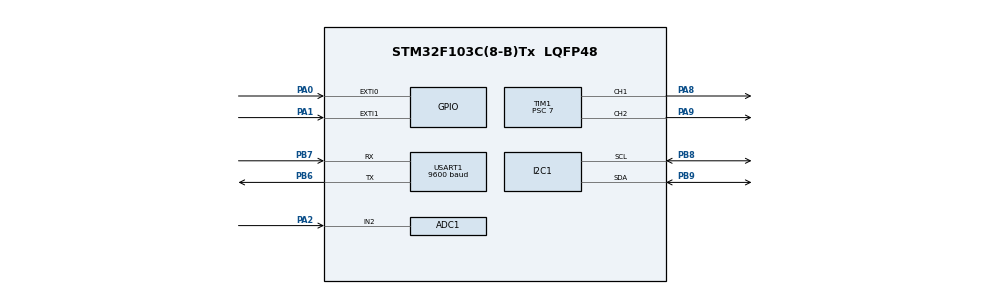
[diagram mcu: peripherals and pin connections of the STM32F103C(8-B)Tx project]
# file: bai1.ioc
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ADC1.Channel-2\#ChannelRegularConversion=ADC_CHANNEL_2
ADC1.NbrOfConversionFlag=1
ADC1.Rank-2\#ChannelRegularConversion=1
ADC1.SamplingTime-2\#ChannelRegularConversion=ADC_SAMPLETIME_1CYCLE_5
ADC1.master=1
Mcu.Family=STM32F1
Mcu.Name=STM32F103C(8-B)Tx
Mcu.Package=LQFP48
NVIC.EXTI0_IRQn=true\:2\:0\:true\:false\:true\:true\:true
NVIC.EXTI1_IRQn=true\:2\:0\:true\:false\:true\:true\:true
NVIC.PriorityGroup=NVIC_PRIORITYGROUP_4
NVIC.TIM2_IRQn=true\:1\:0\:true\:false\:true\:true\:true
NVIC.TIM3_IRQn=true\:1\:0\:true\:false\:true\:true\:true
NVIC.USART1_IRQn=true\:0\:0\:true\:false\:true\:true\:true
PA0-WKUP.Signal=GPXTI0
PA1.Signal=GPXTI1
PA2.Signal=ADCx_IN2
PA8.Signal=S_TIM1_CH1
PA9.Signal=S_TIM1_CH2
PB6.Mode=Asynchronous
PB6.Signal=USART1_TX
PB7.Mode=Asynchronous
PB7.Signal=USART1_RX
PB8.Mode=I2C
PB8.Signal=I2C1_SCL
PB9.Mode=I2C
PB9.Signal=I2C1_SDA
ProjectManager.HeapSize=0x200
ProjectManager.StackSize=0x400
ProjectManager.TargetToolchain=MDK-ARM V5
RCC.APB1Freq_Value=8000000
RCC.APB2Freq_Value=8000000
SH.ADCx_IN2.0=ADC1_IN2,IN2
SH.S_TIM1_CH1.0=TIM1_CH1,PWM Generation1 CH1
SH.S_TIM1_CH2.0=TIM1_CH2,PWM Generation2 CH2
TIM1.Channel-PWM\ Generation1\ CH1=TIM_CHANNEL_1
TIM1.Channel-PWM\ Generation2\ CH2=TIM_CHANNEL_2
TIM1.Period=999
TIM1.Prescaler=7
TIM2.AutoReloadPreload=TIM_AUTORELOAD_PRELOAD_ENABLE
TIM2.Period=999
TIM2.Prescaler=7
TIM3.AutoReloadPreload=TIM_AUTORELOAD_PRELOAD_ENABLE
TIM3.Period=999
TIM3.Prescaler=79
USART1.BaudRate=9600
USART1.VirtualMode=VM_ASYNC
VP_SYS_VS_ND.Mode=No_Debug
VP_TIM1_VS_ClockSourceINT.Mode=Internal
VP_TIM2_VS_ClockSourceINT.Mode=Internal
VP_TIM3_VS_ClockSourceINT.Mode=Internal
board=custom

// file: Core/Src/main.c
/* USER CODE BEGIN Header */
/**
  ******************************************************************************
  * @file           : main.c
  * @brief          : Main program body
  ******************************************************************************
  * @attention
  *
  * <h2><center>&copy; Copyright (c) 2021 STMicroelectronics.
  * All rights reserved.</center></h2>
  *
  * This software component is licensed by ST under BSD 3-Clause license,
  * the "License"; You may not use this file except in compliance with the
  * License. You may obtain a copy of the License at:
  *                        opensource.org/licenses/BSD-3-Clause
  *
  ******************************************************************************
  */
/* USER CODE END Header */
#include "main.h"

/* USER CODE BEGIN Includes */
#include "i2c-lcd.h"
#include "string.h"
#include "stdio.h"
/* USER CODE END Includes */

/* USER CODE BEGIN PTD */
int dem;
int dem2;
int idx;
/* USER CODE END PTD */

ADC_HandleTypeDef hadc1;

I2C_HandleTypeDef hi2c1;

TIM_HandleTypeDef htim1;
TIM_HandleTypeDef htim2;
TIM_HandleTypeDef htim3;

UART_HandleTypeDef huart1;

void SystemClock_Config(void);
static void MX_GPIO_Init(void);
static void MX_I2C1_Init(void);
static void MX_TIM1_Init(void);
static void MX_ADC1_Init(void);
static void MX_USART1_UART_Init(void);
static void MX_TIM2_Init(void);
static void MX_TIM3_Init(void);

/* USER CODE BEGIN 0 */
int soXungB = 0;
int speed = 0;
char tocDoDatBuf[10];
char tocDoBuf[10];
char soXungBbuff[10];
int duty = 0;;
int adcValue;
void forward(int duty)
{
	HAL_Delay(200);
	__HAL_TIM_SetCompare(&htim1, TIM_CHANNEL_2, 0);
	__HAL_TIM_SetCompare(&htim1,TIM_CHANNEL_1,duty);
}

void reverse(int duty)
{
	HAL_Delay(200);
	__HAL_TIM_SetCompare(&htim1, TIM_CHANNEL_1, 0);
	__HAL_TIM_SetCompare(&htim1,TIM_CHANNEL_2,duty);
}

//pid function

double Kp = 0.1;
double Kd = 0.0000001;
double Ki = 0.3;

double T = 0.001;

int soXungA = 0;
int tocdo = 0;
int tocdodat = 0;
int tocdodatM = 0;
int tocdodatA = 0;
int E = 0,E1 = 0,E2 = 0;
float alpha, beta, gamma;
double Output, LastOutput;

void PID()
{
  tocdo=((soXungA*60)/T)/334;
  soXungA = 0;
	E = tocdodat- tocdo ;
  alpha = 2*T*Kp + Ki*T*T + 2*Kd;
  beta = T*T*Ki - 4*Kd - 2*T*Kp;
  gamma = 2*Kd;
  Output = (alpha*E + beta*E1 + gamma*E2 + 2*T*LastOutput)/(2*T);
  LastOutput = Output;
  E2=E1;
  E1=E;
	if(Output <= 0.0)
	{
		Output = 0.0;
		//__HAL_TIM_SetCompare(&htim1,TIM_CHANNEL_2,(int)Output);
	}
	else if(Output > 1000)
	{
		Output = 999.00;
		//__HAL_TIM_SetCompare(&htim1,TIM_CHANNEL_2,(int)Output);
	}
	//else
	//__HAL_TIM_SetCompare(&htim1,TIM_CHANNEL_2,(int)Output);
}

void HAL_TIM_PeriodElapsedCallback(TIM_HandleTypeDef *htim)
{
	if(htim->Instance == TIM2)
	{
		PID();
	}
}
int dem5, dem6, dem7;
char  trangThai = 'T';
char M[8];
/* USER CODE END 0 */

int main(void)
{

  /* MCU Configuration--------------------------------------------------------*/

  /* Reset of all peripherals, Initializes the Flash interface and the Systick. */
  HAL_Init();

  /* Configure the system clock */
  SystemClock_Config();

  /* Initialize all configured peripherals */
  MX_GPIO_Init();
  MX_I2C1_Init();
  MX_TIM1_Init();
  MX_ADC1_Init();
  MX_USART1_UART_Init();
  MX_TIM2_Init();
  MX_TIM3_Init();

  /* Infinite loop */
  /* USER CODE BEGIN WHILE */
	lcd_init();
	HAL_TIM_Base_Start(&htim1);
	HAL_TIM_PWM_Start(&htim1,TIM_CHANNEL_1);
	HAL_TIM_PWM_Start(&htim1,TIM_CHANNEL_2);
	//HAL_TIM_Base_Start_IT(&htim3);
	HAL_TIM_Base_Start_IT(&htim2);

	char tocDoDatBuf[20];
	char tocDoBuf[20];
	char buf1[20];
	char bufTrans[50];
  while (1)
  {
		HAL_ADC_Start(&hadc1);
		HAL_ADC_PollForConversion(&hadc1, 200);
		adcValue = HAL_ADC_GetValue(&hadc1);
		tocdodatM = (adcValue*2353)/4095;
		if(dem7)
			tocdodat = tocdodatM;
    /* USER CODE END WHILE */

    /* USER CODE BEGIN 3 */

		//LCD display
		sprintf(tocDoBuf, "Speed: %d", tocdo);
		sprintf(tocDoDatBuf, "Set: %d", tocdodat);

		dem = strlen(tocDoDatBuf);
		dem2 = strlen(tocDoBuf);

		lcd_goto_XY(1,dem);
		lcd_send_string("     ");
		lcd_goto_XY(1,0);
		lcd_send_string(tocDoDatBuf);

		lcd_goto_XY(0,dem2);
		lcd_send_string("     ");
		lcd_goto_XY(0,0);
		lcd_send_string(tocDoBuf);

		//Connecting with computer
		HAL_UART_Receive_IT(&huart1, (uint8_t *)M, 8);
		//char *speedReceiveBuf = strtok(M, "R");
		//sscanf(speedReceiveBuf, "%d", &tocdodat);
		sprintf(bufTrans,"A%dB%sC\n", tocdo, &trangThai);
		HAL_UART_Transmit(&huart1, (uint8_t *)bufTrans, strlen(bufTrans), 200);
		//HAL_UART_Transmit(&huart1, (uint8_t *)"hello", strlen(M), 200);
		if(dem6)
		{
			reverse((int)Output);
		}
		else
			forward((int)Output);

//		char *KIDrecBuf = strchr(M, 'I');
//		char *KDrecBuf = strchr(KIDrecBuf, 'D');
//		sscanf(KPrecBuf, "%f", &KPrec);
//		sscanf(KIrecBuf, "%f", &KIrec);
//		sscanf(KDrecBuf, "%f", &KDrec);
//		Kp = KPrec;
//		Ki = KIrec;
//		Kd = KDrec;

		//reverse(duty);
		//__HAL_TIM_SetCompare(&htim1,TIM_CHANNEL_1,duty);
		//lcd_goto_XY(0,0);
		//lcd_send_string("hello");
		//sprintf(speedBuffer, "%f", tocdo);
		//lcd_send_string(soXungBbuff);

  }
  /* USER CODE END 3 */
}

void SystemClock_Config(void)
{
  RCC_OscInitTypeDef RCC_OscInitStruct = {0};
  RCC_ClkInitTypeDef RCC_ClkInitStruct = {0};
  RCC_PeriphCLKInitTypeDef PeriphClkInit = {0};

  /** Initializes the RCC Oscillators according to the specified parameters
  * in the RCC_OscInitTypeDef structure.
  */
  RCC_OscInitStruct.OscillatorType = RCC_OSCILLATORTYPE_HSI;
  RCC_OscInitStruct.HSIState = RCC_HSI_ON;
  RCC_OscInitStruct.HSICalibrationValue = RCC_HSICALIBRATION_DEFAULT;
  RCC_OscInitStruct.PLL.PLLState = RCC_PLL_NONE;
  if (HAL_RCC_OscConfig(&RCC_OscInitStruct) != HAL_OK)
  {
    Error_Handler();
  }
  /** Initializes the CPU, AHB and APB buses clocks
  */
  RCC_ClkInitStruct.ClockType = RCC_CLOCKTYPE_HCLK|RCC_CLOCKTYPE_SYSCLK
                              |RCC_CLOCKTYPE_PCLK1|RCC_CLOCKTYPE_PCLK2;
  RCC_ClkInitStruct.SYSCLKSource = RCC_SYSCLKSOURCE_HSI;
  RCC_ClkInitStruct.AHBCLKDivider = RCC_SYSCLK_DIV1;
  RCC_ClkInitStruct.APB1CLKDivider = RCC_HCLK_DIV1;
  RCC_ClkInitStruct.APB2CLKDivider = RCC_HCLK_DIV1;

  if (HAL_RCC_ClockConfig(&RCC_ClkInitStruct, FLASH_LATENCY_0) != HAL_OK)
  {
    Error_Handler();
  }
  PeriphClkInit.PeriphClockSelection = RCC_PERIPHCLK_ADC;
  PeriphClkInit.AdcClockSelection = RCC_ADCPCLK2_DIV2;
  if (HAL_RCCEx_PeriphCLKConfig(&PeriphClkInit) != HAL_OK)
  {
    Error_Handler();
  }
}

static void MX_ADC1_Init(void)
{

  ADC_ChannelConfTypeDef sConfig = {0};

  /** Common config
  */
  hadc1.Instance = ADC1;
  hadc1.Init.ScanConvMode = ADC_SCAN_DISABLE;
  hadc1.Init.ContinuousConvMode = DISABLE;
  hadc1.Init.DiscontinuousConvMode = DISABLE;
  hadc1.Init.ExternalTrigConv = ADC_SOFTWARE_START;
  hadc1.Init.DataAlign = ADC_DATAALIGN_RIGHT;
  hadc1.Init.NbrOfConversion = 1;
  if (HAL_ADC_Init(&hadc1) != HAL_OK)
  {
    Error_Handler();
  }
  /** Configure Regular Channel
  */
  sConfig.Channel = ADC_CHANNEL_2;
  sConfig.Rank = ADC_REGULAR_RANK_1;
  sConfig.SamplingTime = ADC_SAMPLETIME_1CYCLE_5;
  if (HAL_ADC_ConfigChannel(&hadc1, &sConfig) != HAL_OK)
  {
    Error_Handler();
  }

}

static void MX_I2C1_Init(void)
{

  hi2c1.Instance = I2C1;
  hi2c1.Init.ClockSpeed = 100000;
  hi2c1.Init.DutyCycle = I2C_DUTYCYCLE_2;
  hi2c1.Init.OwnAddress1 = 0;
  hi2c1.Init.AddressingMode = I2C_ADDRESSINGMODE_7BIT;
  hi2c1.Init.DualAddressMode = I2C_DUALADDRESS_DISABLE;
  hi2c1.Init.OwnAddress2 = 0;
  hi2c1.Init.GeneralCallMode = I2C_GENERALCALL_DISABLE;
  hi2c1.Init.NoStretchMode = I2C_NOSTRETCH_DISABLE;
  if (HAL_I2C_Init(&hi2c1) != HAL_OK)
  {
    Error_Handler();
  }

}

static void MX_TIM1_Init(void)
{

  TIM_ClockConfigTypeDef sClockSourceConfig = {0};
  TIM_MasterConfigTypeDef sMasterConfig = {0};
  TIM_OC_InitTypeDef sConfigOC = {0};
  TIM_BreakDeadTimeConfigTypeDef sBreakDeadTimeConfig = {0};

  htim1.Instance = TIM1;
  htim1.Init.Prescaler = 7;
  htim1.Init.CounterMode = TIM_COUNTERMODE_UP;
  htim1.Init.Period = 999;
  htim1.Init.ClockDivision = TIM_CLOCKDIVISION_DIV1;
  htim1.Init.RepetitionCounter = 0;
  htim1.Init.AutoReloadPreload = TIM_AUTORELOAD_PRELOAD_DISABLE;
  if (HAL_TIM_Base_Init(&htim1) != HAL_OK)
  {
    Error_Handler();
  }
  sClockSourceConfig.ClockSource = TIM_CLOCKSOURCE_INTERNAL;
  if (HAL_TIM_ConfigClockSource(&htim1, &sClockSourceConfig) != HAL_OK)
  {
    Error_Handler();
  }
  if (HAL_TIM_PWM_Init(&htim1) != HAL_OK)
  {
    Error_Handler();
  }
  sMasterConfig.MasterOutputTrigger = TIM_TRGO_RESET;
  sMasterConfig.MasterSlaveMode = TIM_MASTERSLAVEMODE_DISABLE;
  if (HAL_TIMEx_MasterConfigSynchronization(&htim1, &sMasterConfig) != HAL_OK)
  {
    Error_Handler();
  }
  sConfigOC.OCMode = TIM_OCMODE_PWM1;
  sConfigOC.Pulse = 0;
  sConfigOC.OCPolarity = TIM_OCPOLARITY_HIGH;
  sConfigOC.OCNPolarity = TIM_OCNPOLARITY_HIGH;
  sConfigOC.OCFastMode = TIM_OCFAST_DISABLE;
  sConfigOC.OCIdleState = TIM_OCIDLESTATE_RESET;
  sConfigOC.OCNIdleState = TIM_OCNIDLESTATE_RESET;
  if (HAL_TIM_PWM_ConfigChannel(&htim1, &sConfigOC, TIM_CHANNEL_1) != HAL_OK)
  {
    Error_Handler();
  }
  if (HAL_TIM_PWM_ConfigChannel(&htim1, &sConfigOC, TIM_CHANNEL_2) != HAL_OK)
  {
    Error_Handler();
  }
  sBreakDeadTimeConfig.OffStateRunMode = TIM_OSSR_DISABLE;
  sBreakDeadTimeConfig.OffStateIDLEMode = TIM_OSSI_DISABLE;
  sBreakDeadTimeConfig.LockLevel = TIM_LOCKLEVEL_OFF;
  sBreakDeadTimeConfig.DeadTime = 0;
  sBreakDeadTimeConfig.BreakState = TIM_BREAK_DISABLE;
  sBreakDeadTimeConfig.BreakPolarity = TIM_BREAKPOLARITY_HIGH;
  sBreakDeadTimeConfig.AutomaticOutput = TIM_AUTOMATICOUTPUT_DISABLE;
  if (HAL_TIMEx_ConfigBreakDeadTime(&htim1, &sBreakDeadTimeConfig) != HAL_OK)
  {
    Error_Handler();
  }
  HAL_TIM_MspPostInit(&htim1);

}

static void MX_TIM2_Init(void)
{

  TIM_ClockConfigTypeDef sClockSourceConfig = {0};
  TIM_MasterConfigTypeDef sMasterConfig = {0};

  htim2.Instance = TIM2;
  htim2.Init.Prescaler = 7;
  htim2.Init.CounterMode = TIM_COUNTERMODE_UP;
  htim2.Init.Period = 999;
  htim2.Init.ClockDivision = TIM_CLOCKDIVISION_DIV1;
  htim2.Init.AutoReloadPreload = TIM_AUTORELOAD_PRELOAD_ENABLE;
  if (HAL_TIM_Base_Init(&htim2) != HAL_OK)
  {
    Error_Handler();
  }
  sClockSourceConfig.ClockSource = TIM_CLOCKSOURCE_INTERNAL;
  if (HAL_TIM_ConfigClockSource(&htim2, &sClockSourceConfig) != HAL_OK)
  {
    Error_Handler();
  }
  sMasterConfig.MasterOutputTrigger = TIM_TRGO_RESET;
  sMasterConfig.MasterSlaveMode = TIM_MASTERSLAVEMODE_DISABLE;
  if (HAL_TIMEx_MasterConfigSynchronization(&htim2, &sMasterConfig) != HAL_OK)
  {
    Error_Handler();
  }

}

static void MX_TIM3_Init(void)
{

  TIM_ClockConfigTypeDef sClockSourceConfig = {0};
  TIM_MasterConfigTypeDef sMasterConfig = {0};

  htim3.Instance = TIM3;
  htim3.Init.Prescaler = 79;
  htim3.Init.CounterMode = TIM_COUNTERMODE_UP;
  htim3.Init.Period = 999;
  htim3.Init.ClockDivision = TIM_CLOCKDIVISION_DIV1;
  htim3.Init.AutoReloadPreload = TIM_AUTORELOAD_PRELOAD_ENABLE;
  if (HAL_TIM_Base_Init(&htim3) != HAL_OK)
  {
    Error_Handler();
  }
  sClockSourceConfig.ClockSource = TIM_CLOCKSOURCE_INTERNAL;
  if (HAL_TIM_ConfigClockSource(&htim3, &sClockSourceConfig) != HAL_OK)
  {
    Error_Handler();
  }
  sMasterConfig.MasterOutputTrigger = TIM_TRGO_RESET;
  sMasterConfig.MasterSlaveMode = TIM_MASTERSLAVEMODE_DISABLE;
  if (HAL_TIMEx_MasterConfigSynchronization(&htim3, &sMasterConfig) != HAL_OK)
  {
    Error_Handler();
  }

}

static void MX_USART1_UART_Init(void)
{

  huart1.Instance = USART1;
  huart1.Init.BaudRate = 9600;
  huart1.Init.WordLength = UART_WORDLENGTH_8B;
  huart1.Init.StopBits = UART_STOPBITS_1;
  huart1.Init.Parity = UART_PARITY_NONE;
  huart1.Init.Mode = UART_MODE_TX_RX;
  huart1.Init.HwFlowCtl = UART_HWCONTROL_NONE;
  huart1.Init.OverSampling = UART_OVERSAMPLING_16;
  if (HAL_UART_Init(&huart1) != HAL_OK)
  {
    Error_Handler();
  }

}

static void MX_GPIO_Init(void)
{
  GPIO_InitTypeDef GPIO_InitStruct = {0};

  /* GPIO Ports Clock Enable */
  __HAL_RCC_GPIOA_CLK_ENABLE();
  __HAL_RCC_GPIOB_CLK_ENABLE();

  /*Configure GPIO pins : PA0 PA1 */
  GPIO_InitStruct.Pin = GPIO_PIN_0|GPIO_PIN_1;
  GPIO_InitStruct.Mode = GPIO_MODE_IT_RISING;
  GPIO_InitStruct.Pull = GPIO_NOPULL;
  HAL_GPIO_Init(GPIOA, &GPIO_InitStruct);

  /* EXTI interrupt init*/
  HAL_NVIC_SetPriority(EXTI0_IRQn, 2, 0);
  HAL_NVIC_EnableIRQ(EXTI0_IRQn);

  HAL_NVIC_SetPriority(EXTI1_IRQn, 2, 0);
  HAL_NVIC_EnableIRQ(EXTI1_IRQn);

}

/* USER CODE BEGIN 4 */
void HAL_UART_RxCpltCallback(UART_HandleTypeDef *huart)
{
	if(huart->Instance == huart1.Instance)
	{
		//idx++;
		char *pch;
		pch = strtok (M,"W");
		int i = 0;
		while (pch != NULL)
		{
			i++;
			if(i == 1)
			sscanf (pch,"%d",&tocdodatA);
			else if ( i == 2)
			sscanf (pch,"%d",&dem6);
			else if (i == 3)
			sscanf (pch,"%d",&dem7);
			pch = strtok (NULL, "W");
		}
		if(!dem7)
		{
			tocdodat = tocdodatA;
		}
		else
			tocdodat = tocdodatM;
		for(int j=0;j<8;j++)
		{
				M[j] = 0;
		}
		HAL_UART_Receive_IT(&huart1, (uint8_t *)M, 8);
	}
}

/* USER CODE END 4 */

void Error_Handler(void)
{
  __disable_irq();
  while (1)
  {
  }
}

/************************ (C) COPYRIGHT STMicroelectronics *****END OF FILE****/
